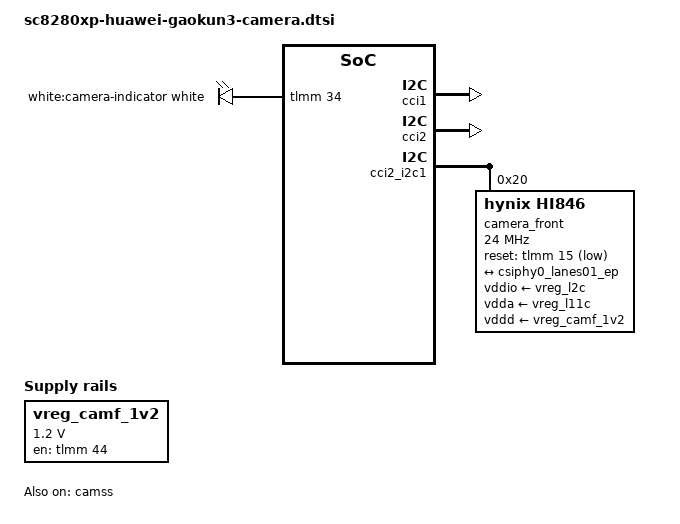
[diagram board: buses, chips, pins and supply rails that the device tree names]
// SPDX-License-Identifier: BSD-3-Clause
/*
 * Copyright (c) 2021, The Linux Foundation. All rights reserved.
 */

#include <dt-bindings/leds/common.h>

/ {
	leds {
		compatible = "gpio-leds";

		pinctrl-names = "default";
		pinctrl-0 = <&camf_indicator_en>;

		flash_camf: led-camera-indicator {
			label = "white:camera-indicator";
			function = LED_FUNCTION_INDICATOR;
			color = <LED_COLOR_ID_WHITE>;
			gpios = <&tlmm 34 GPIO_ACTIVE_HIGH>;
			linux,default-trigger = "none";
			default-state = "off";
			/* Reuse as a panic indicator until we get a "camera on" trigger */
			panic-indicator;
		};
	};

	vreg_camf_1v2: regulator-camf-lv2 {
		compatible = "regulator-fixed";

		regulator-name = "CAMF_1V2";
		regulator-min-microvolt = <1200000>;
		regulator-max-microvolt = <1200000>;

		gpio = <&tlmm 44 GPIO_ACTIVE_HIGH>;
		enable-active-high;

		pinctrl-0 = <&camf_lv2_reg_en>;
		pinctrl-names = "default";

		regulator-boot-on;
	};
};

&camss {

	/* CSIPHY0 CSIPHY1 1.2v = l4d, 0.88v = l6d
	 * TODO: CSIPHY2, CSIPHY3 1.2v = l3b, 0.88v = l6b
	 */

	vdda-phy-supply = <&vreg_l6d>;
	vdda-pll-supply = <&vreg_l4d>;

	status = "okay";

	ports {
		port@0 { The port index denotes CSIPHY id i.e. csiphy0
			csiphy0_lanes01_ep: endpoint@0 {
				reg = <0>;
				clock-lanes = <7>; required
				data-lanes = <0 1>;
				remote-endpoint = <&hi846_ep>;
			};
		};
	};
};


&cci1 {
	status = "okay";
};
/*
&cci1_i2c0 {
	vcm@c {
	};

	camera_rear: camera@10 {
		reg = <0x10>;
		clocks = <&camcc CAMCC_MCLK4_CLK>;
	};
};
*/

&cci2 {
	status = "okay";
};

&cci2_i2c1 {
	camera_front: camera@20 {
		compatible = "hynix,hi846";
		reg = <0x20>;

		pinctrl-names = "default";
		pinctrl-0 = <&camf_rgb_default>;

		clocks = <&camcc CAMCC_MCLK3_CLK>;
		clock-frequency = <24000000>; dummy, the default one is 19.2Mhz

		reset-gpios = <&tlmm 15 GPIO_ACTIVE_LOW>;
		vddio-supply = <&vreg_l2c>;
		vdda-supply = <&vreg_l11c>;
		vddd-supply = <&vreg_camf_1v2>;

		orientation = <0>;	/* Front facing */
		rotation = <90>;

//		flash-leds = <&flash_camf>;

		port {
			hi846_ep: endpoint {
				data-lanes = <1 2>;
				link-frequencies = /bits/ 64 <80000000 200000000>;
				remote-endpoint = <&csiphy0_lanes01_ep>;
			};
		};
	};
};

&tlmm {

	camf_indicator_en: camf-indicator-en-state {
		pins = "gpio34";
		function = "gpio";
		drive-strength = <2>;
		bias-disable;
	};

	camf_lv2_reg_en: camf-lv2-reg-en-state {
		pins = "gpio44";
		function = "gpio";
		drive-strength = <2>;
		bias-disable;
	};

	camf_rgb_default: camf-rgb-default-state {
		mclk-pins {
			pins = "gpio17";
			function = "cam_mclk";
			drive-strength = <16>;
			bias-disable;
		};

		sc-rgb-xshut-n-pins {
			pins = "gpio15";
			function = "gpio";
			drive-strength = <2>;
			bias-disable;
		};
	};
};
